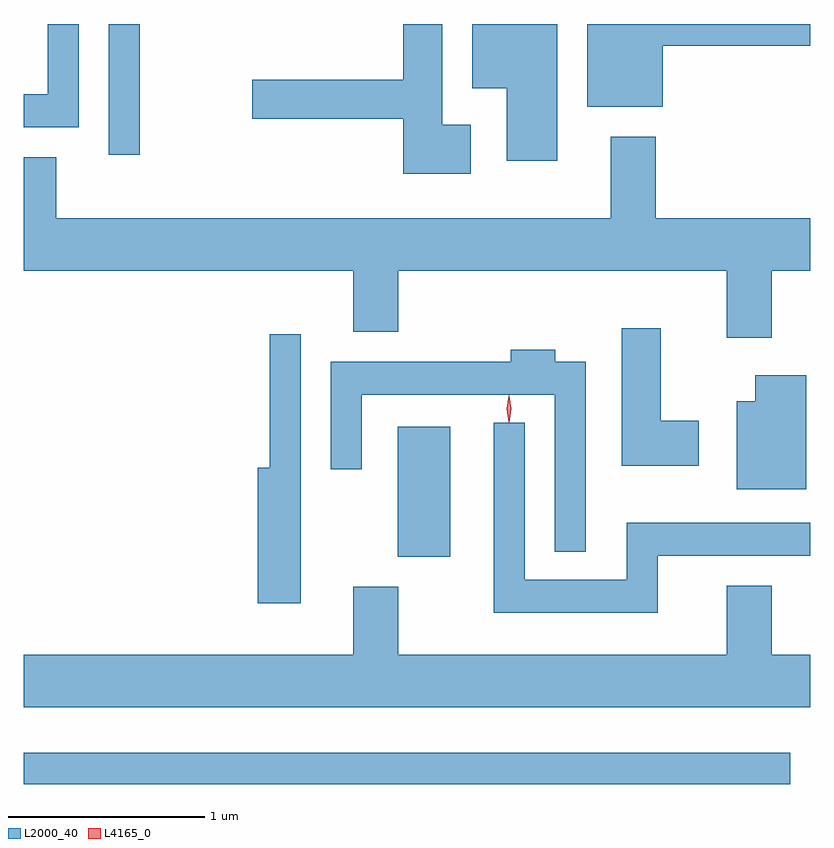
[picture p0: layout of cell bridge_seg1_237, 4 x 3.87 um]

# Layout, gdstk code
import gdstk
lib = gdstk.Library(unit=1e-6, precision=1e-09)
def R(c, l, rs):  # rectangles x0, y0, x1, y1
    for r in rs: c.add(gdstk.rectangle(r[:2], r[2:], *l))
def P(c, l, *ps):  # polygons
    for p in ps: c.add(gdstk.Polygon(p, *l))
L2000_40 = (2000, 40)
L4165_0 = (4165, 0)

bridge_seg1_237 = lib.new_cell('bridge_seg1_237')
R(bridge_seg1_237, L2000_40, [(835.705,879.206,839.603,879.364), (837.606,880.361,837.874,881.024), (836.136,882.408,836.294,883.072)])
P(bridge_seg1_237, L2000_40, [(835.984,883.072),(835.826,883.072),(835.826,882.714),(835.705,882.714),(835.705,882.546),(835.984,882.546)],
  [(837.979,882.559),(837.834,882.559),(837.834,883.072),(837.636,883.072),(837.636,882.789),(836.866,882.789),(836.866,882.591),(837.636,882.591),(837.636,882.311),(837.979,882.311)],
  [(838.954,882.961),(839.705,882.961),(839.705,883.072),(838.571,883.072),(838.571,882.651),(838.954,882.651)],
  [(838.419,883.072),(837.986,883.072),(837.986,882.746),(838.161,882.746),(838.161,882.376),(838.419,882.376)],
  [(839.509,881.816),(839.705,881.816),(839.705,882.084),(838.919,882.084),(838.919,882.499),(838.691,882.499),(838.691,882.084),(835.869,882.084),(835.869,882.394),(835.705,882.394),(835.705,881.816),(837.381,881.816),(837.381,881.506),(837.609,881.506),(837.609,881.816),(839.281,881.816),(839.281,881.476),(839.509,881.476)],
  [(839.139,881.054),(838.944,881.054),(838.944,881.524),(838.746,881.524),(838.746,880.826),(839.139,880.826)],
  [(837.114,881.493),(836.956,881.493),(836.956,880.814),(836.896,880.814),(836.896,880.126),(837.114,880.126)],
  [(838.564,881.354),(838.409,881.354),(838.409,881.414),(838.181,881.414),(838.181,881.354),(837.266,881.354),(837.266,880.808),(837.424,880.808),(837.424,881.186),(838.406,881.186),(838.406,880.388),(838.564,880.388)],
  [(839.684,881.284),(839.426,881.284),(839.426,881.154),(839.331,881.154),(839.331,880.706),(839.684,880.706)],
  [(838.929,880.366),(839.705,880.366),(839.705,880.534),(838.771,880.534),(838.771,880.244),(838.254,880.244),(838.254,881.043),(838.096,881.043),(838.096,880.076),(838.929,880.076)],
  [(837.381,880.209),(837.381,879.864),(835.705,879.864),(835.705,879.596),(839.705,879.596),(839.705,879.864),(839.509,879.864),(839.509,880.214),(839.281,880.214),(839.281,879.864),(837.609,879.864),(837.609,880.209)])
P(bridge_seg1_237, L4165_0, [(838.173,881.044),(838.164,881.114),(838.173,881.182),(838.174,881.183),(838.174,881.182),(838.184,881.114),(838.174,881.044),(838.174,881.044)],
  [(838.172,881.047),(838.172,881.047),(838.162,881.114),(838.172,881.18),(838.172,881.18),(838.172,881.18),(838.182,881.114),(838.172,881.047)])

lib.write_gds('bridge_seg1_237.gds')
